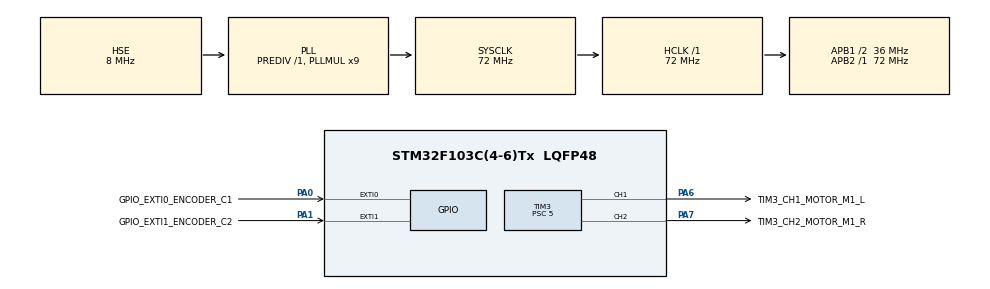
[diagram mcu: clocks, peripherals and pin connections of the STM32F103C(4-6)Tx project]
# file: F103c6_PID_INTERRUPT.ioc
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Mcu.Family=STM32F1
Mcu.Name=STM32F103C(4-6)Tx
Mcu.Package=LQFP48
NVIC.EXTI0_IRQn=true\:0\:0\:false\:false\:true\:true\:true\:true
NVIC.EXTI1_IRQn=true\:0\:0\:false\:false\:true\:true\:true\:true
NVIC.PriorityGroup=NVIC_PRIORITYGROUP_4
NVIC.TIM2_IRQn=true\:0\:0\:false\:false\:true\:true\:true\:true
PA0-WKUP.GPIO_Label=GPIO_EXTI0_ENCODER_C1
PA0-WKUP.GPIO_ModeDefaultEXTI=GPIO_MODE_IT_RISING_FALLING
PA0-WKUP.Signal=GPXTI0
PA1.GPIO_Label=GPIO_EXTI1_ENCODER_C2
PA1.GPIO_ModeDefaultEXTI=GPIO_MODE_IT_RISING_FALLING
PA1.Signal=GPXTI1
PA13.Mode=Serial_Wire
PA13.Signal=SYS_JTMS-SWDIO
PA14.Mode=Serial_Wire
PA14.Signal=SYS_JTCK-SWCLK
PA6.GPIO_Label=TIM3_CH1_MOTOR_M1_L
PA6.Signal=S_TIM3_CH1
PA7.GPIO_Label=TIM3_CH2_MOTOR_M1_R
PA7.Signal=S_TIM3_CH2
PD0-OSC_IN.Mode=HSE-External-Oscillator
PD0-OSC_IN.Signal=RCC_OSC_IN
PD1-OSC_OUT.Mode=HSE-External-Oscillator
PD1-OSC_OUT.Signal=RCC_OSC_OUT
ProjectManager.HeapSize=0x200
ProjectManager.StackSize=0x400
ProjectManager.TargetToolchain=STM32CubeIDE
RCC.AHBFreq_Value=72000000
RCC.APB1CLKDivider=RCC_HCLK_DIV2
RCC.APB1Freq_Value=36000000
RCC.APB1TimFreq_Value=72000000
RCC.APB2Freq_Value=72000000
RCC.APB2TimFreq_Value=72000000
RCC.HCLKFreq_Value=72000000
RCC.PLLMUL=RCC_PLL_MUL9
RCC.PLLSourceVirtual=RCC_PLLSOURCE_HSE
RCC.SYSCLKFreq_VALUE=72000000
RCC.SYSCLKSource=RCC_SYSCLKSOURCE_PLLCLK
RCC.USBFreq_Value=72000000
SH.S_TIM3_CH1.0=TIM3_CH1,PWM Generation1 CH1
SH.S_TIM3_CH2.0=TIM3_CH2,PWM Generation2 CH2
TIM2.AutoReloadPreload=TIM_AUTORELOAD_PRELOAD_ENABLE
TIM2.Period=9999
TIM2.Prescaler=143
TIM3.Channel-PWM\ Generation1\ CH1=TIM_CHANNEL_1
TIM3.Channel-PWM\ Generation2\ CH2=TIM_CHANNEL_2
TIM3.Period=999
TIM3.Prescaler=5
VP_TIM2_VS_ClockSourceINT.Mode=Internal
VP_TIM3_VS_ClockSourceINT.Mode=Internal
board=custom

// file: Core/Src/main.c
/* USER CODE BEGIN Header */
/**
  ******************************************************************************
  * @file           : main.c
  * @brief          : Main program body
  ******************************************************************************
  * @attention
  *
  * Copyright (c) 2023 STMicroelectronics.
  * All rights reserved.
  *
  * This software is licensed under terms that can be found in the LICENSE file
  * in the root directory of this software component.
  * If no LICENSE file comes with this software, it is provided AS-IS.
  *
  ******************************************************************************
  */
/* USER CODE END Header */
#include "main.h"
#include "tim.h"
#include "gpio.h"

/* USER CODE BEGIN Includes */

#include "PID.h"
#include <stdlib.h>

/* USER CODE END Includes */

/* USER CODE BEGIN PTD */

	PIDController MPID;

/* USER CODE END PTD */

/* USER CODE BEGIN PM */

	/* WITH BOYLOY ADD TUA = 0.009 */

		// #define MKp 0.2866
		// #define MKi 5.109

	/* WITH TEACHER CHIVORN TUA = 0.09 */

		#define MKp 0.8280
		#define MKi 179.14

		#define MKd 0.0

/* USER CODE END PM */

/* USER CODE BEGIN PV */

	/* PID */

		#define pi 3.1415
		#define Motor1 0

		#define CPR 1292  /* COUNT PER REVOTION */
		#define Sample_time 20 // MS

		uint16_t cnt[1];
		uint16_t Enc_count[1];

	/* INTERRUPT */

		uint8_t nowA[4];
		uint8_t nowB[4];
		uint8_t lastA[4];
		uint8_t lastB[4];
		uint8_t dir[4];

		uint16_t v;
		uint16_t count[1]; /* COUNT PULSE FOR ENCODER */
		uint16_t new_count[1];
		uint8_t  count_state[1];
		uint16_t diff[1]; /* DIFFENCE BETWEEN COUNT AND NEW_COUNT IN A SAMPLE TIME  */
		uint16_t c;

		float speedM[1];
		float rdps[1];

		float Motor1_speed ;
		float V1 ; /* TARGET SPEED OF MOTOR 1 */
		float pwm_M1 ;

/* USER CODE END PV */

void SystemClock_Config(void);
/* USER CODE BEGIN PFP */

	/* MAP */

		float map(float Input, float Min_Input, float Max_Input, float Min_Output, float Max_Output) {
			return (float) ((Input - Min_Input) * (Max_Output - Min_Output) / (Max_Input - Min_Input) + Min_Output);
		}

		float Motors_RPS(int j, float SampleTime, float N_round)
		{

			/* ENCODER EXTI */

				new_count[Motor1] = Enc_count[0];
				count_state[Motor1] = !dir[0];

				if (count_state[j])
					{
						if (new_count[j] <= count[j])
						{
							diff[j] = count[j] - new_count[j]; /* CHECK FOR COUNTER UNDERFLOW */
						}
						else
						{
							diff[j] = (65536 - new_count[j]) + count[j];
						}
						speedM[j] = (float)diff[j] * 1000.0f / (N_round * SampleTime)*-1;
					}
					else
					{
						if (new_count[j] >= count[j])
						{
							diff[j] = new_count[j] - count[j]; /* CHECK FOR COUNTER OVERFLOW */
						}
						else
						{
							diff[j] = (65536 - count[j]) + new_count[j];
						}
						speedM[j] = (float)diff[j] * 1000.0f / (N_round * SampleTime);
					}

					rdps[j] = -2.0f * pi * speedM[j];
					count[j] = new_count[j];

					return rdps[j];
	}

	uint16_t encoder(int i)
	{
		if (nowA[i] != lastA[i])
		{
			lastA[i] = nowA[i];
			if (lastA[i] == 0)
			{
				if (nowB[i] == 0)
				{
					dir[i] = 0;
					cnt[i]--;
				}
				else
				{
					dir[i] = 1;
					cnt[i]++;
				}
			}
			else
			{
				if (nowB[i] == 1)
				{
					dir[i] = 0;
					cnt[i]--;
				}
				else
				{
					dir[i] = 1;
					cnt[i]++;
				}
			}
		}

		if (nowB[i] != lastB[i])
		{
			lastB[i] = nowB[i];
			if (lastB[i] == 0)
			{
				if (nowA[i] == 1)
				{
					dir[i] = 0;
					cnt[i]--;
				}
				else
				{
					dir[i] = 1;
					cnt[i]++;
				}
			}
			else
			{
				if (nowA[i] == 0)
				{
					dir[i] = 0;
					cnt[i]--;
				}
				else
				{
					dir[i] = 1;
					cnt[i]++;
				}
			}
		}
		return cnt[i];
	}

/* USER CODE END PFP */

int main(void)
{
  /* USER CODE BEGIN 1 */

	/* INNITAIL PARAMET PID */

		PID_Init(&MPID, 1);
		MPID.T = 0.02;		/* T = 10MS */
		MPID.limMax = 1000;
		MPID.limMin = -1000;
		MPID.limMaxInt = 1000;
		MPID.limMinInt = -1000;
		MPID.tau = 0;	/* FOR Kd */

  /* USER CODE END 1 */

  /* MCU Configuration--------------------------------------------------------*/

  /* Reset of all peripherals, Initializes the Flash interface and the Systick. */
  HAL_Init();

  /* Configure the system clock */
  SystemClock_Config();

  /* Initialize all configured peripherals */
  MX_GPIO_Init();
  MX_TIM3_Init();
  MX_TIM2_Init();
  /* USER CODE BEGIN 2 */

	/* TIMER */

		HAL_TIM_Base_Start_IT(&htim2);

	/* TIMER 3 MOTOR */

		HAL_TIM_PWM_Start(&htim3, TIM_CHANNEL_1);
		HAL_TIM_PWM_Start(&htim3, TIM_CHANNEL_2);

  /* USER CODE END 2 */

  /* Infinite loop */
  while (1)
  {

  }
}

void SystemClock_Config(void)
{
  RCC_OscInitTypeDef RCC_OscInitStruct = {0};
  RCC_ClkInitTypeDef RCC_ClkInitStruct = {0};

  /** Initializes the RCC Oscillators according to the specified parameters
  * in the RCC_OscInitTypeDef structure.
  */
  RCC_OscInitStruct.OscillatorType = RCC_OSCILLATORTYPE_HSE;
  RCC_OscInitStruct.HSEState = RCC_HSE_ON;
  RCC_OscInitStruct.HSEPredivValue = RCC_HSE_PREDIV_DIV1;
  RCC_OscInitStruct.HSIState = RCC_HSI_ON;
  RCC_OscInitStruct.PLL.PLLState = RCC_PLL_ON;
  RCC_OscInitStruct.PLL.PLLSource = RCC_PLLSOURCE_HSE;
  RCC_OscInitStruct.PLL.PLLMUL = RCC_PLL_MUL9;
  if (HAL_RCC_OscConfig(&RCC_OscInitStruct) != HAL_OK)
  {
    Error_Handler();
  }

  /** Initializes the CPU, AHB and APB buses clocks
  */
  RCC_ClkInitStruct.ClockType = RCC_CLOCKTYPE_HCLK|RCC_CLOCKTYPE_SYSCLK
                              |RCC_CLOCKTYPE_PCLK1|RCC_CLOCKTYPE_PCLK2;
  RCC_ClkInitStruct.SYSCLKSource = RCC_SYSCLKSOURCE_PLLCLK;
  RCC_ClkInitStruct.AHBCLKDivider = RCC_SYSCLK_DIV1;
  RCC_ClkInitStruct.APB1CLKDivider = RCC_HCLK_DIV2;
  RCC_ClkInitStruct.APB2CLKDivider = RCC_HCLK_DIV1;

  if (HAL_RCC_ClockConfig(&RCC_ClkInitStruct, FLASH_LATENCY_2) != HAL_OK)
  {
    Error_Handler();
  }
}

/* USER CODE BEGIN 4 */

/* ENCODER EXTI */

	void HAL_GPIO_EXTI_Callback(uint16_t GPIO_Pin)
	{
		if (GPIO_Pin == GPIO_PIN_0 || GPIO_PIN_1) /* MOTOR 1 */
			{ /* ENCODER MOTOR 1 */
				nowA[0] = HAL_GPIO_ReadPin(GPIOA, GPIO_PIN_0); /* PAOFOR ENCODER CH1 */
				nowB[0] = HAL_GPIO_ReadPin(GPIOA, GPIO_PIN_1); /* PA1 CH2 */
				Enc_count[0] = encoder(0);
			}
	}

	/* MAKER TIMER INTERRUPP 1mS */

		void HAL_TIM_PeriodElapsedCallback(TIM_HandleTypeDef *htim) {
			if (htim->Instance == TIM2) {

				/* TEST SPEED MOTOR */

					//Motor1_speed = Motors_RPS(Motor1, Sample_time, CPR);

					// TIM3->CCR1 = 0;
					// TIM3->CCR2 = V1;

				/* PID */

					/* PID NEED TO CHANGE FOR USING */

						pwm_M1 = PID(&MPID, V1, Motor1_speed, MKp, MKi, MKd, Motor1);

					/* MEASURMENT FEEDBACK SPEED */

						Motor1_speed = Motors_RPS(Motor1, Sample_time, CPR);

						if (V1 > 0) {
							TIM3->CCR1 = pwm_M1;
							TIM3->CCR2 = 0;
						}
						else if(V1 < 0) {
							TIM3->CCR1 = 0;
							TIM3->CCR2 = -1 * pwm_M1;
						}
						else
						{
							TIM3->CCR2 = 0;
							TIM3->CCR1 = 0;
						}
				}
		}

/* USER CODE END 4 */

void Error_Handler(void)
{
  __disable_irq();
  while (1)
  {
  }
}
